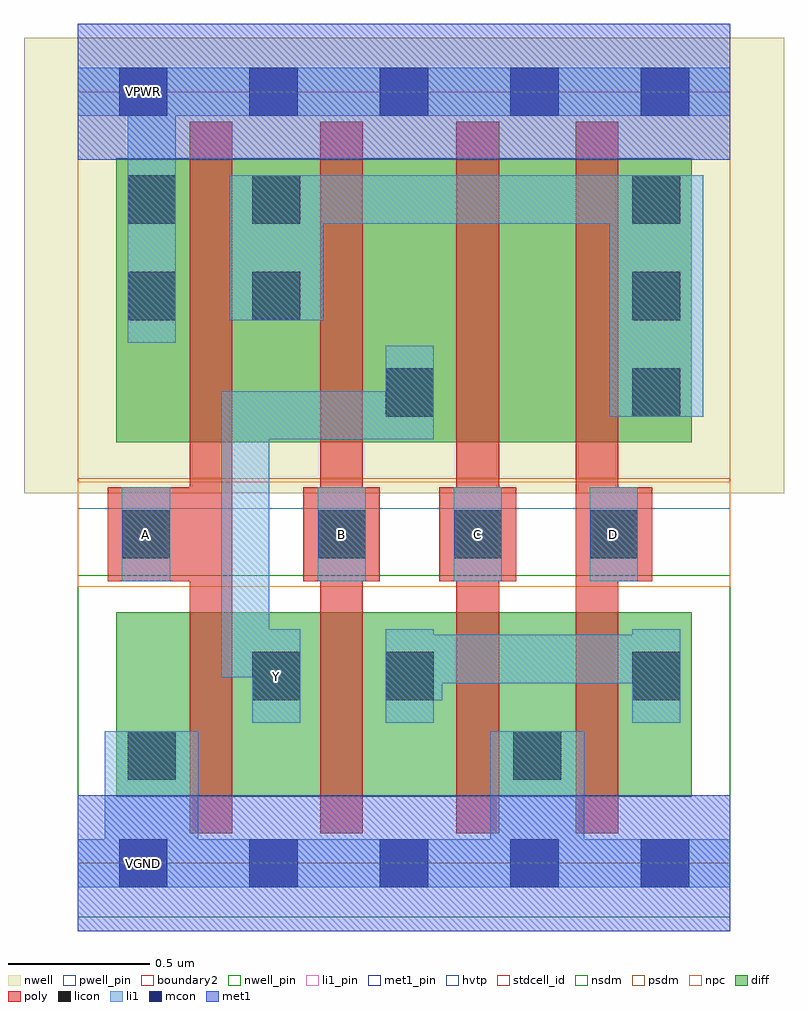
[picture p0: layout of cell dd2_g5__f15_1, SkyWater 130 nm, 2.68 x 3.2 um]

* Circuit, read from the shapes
.subckt dd2_g5__f15_1 A B C D VGND VNB VPB VPWR Y
XM1 Y A VGND VNB sky130_fd_pr__nfet_01v8 w=0.65 l=0.15
XM2 n1 B Y VNB sky130_fd_pr__nfet_01v8 w=0.65 l=0.15
XM3 VGND C n1 VNB sky130_fd_pr__nfet_01v8 w=0.65 l=0.15
XM4 n1 D VGND VNB sky130_fd_pr__nfet_01v8 w=0.65 l=0.15
XM5 n2 A VPWR VPB sky130_fd_pr__pfet_01v8_hvt w=1 l=0.15
XM6 Y B n2 VPB sky130_fd_pr__pfet_01v8_hvt w=1 l=0.15
XM7 n3 C Y VPB sky130_fd_pr__pfet_01v8_hvt w=1 l=0.15
XM8 n2 D n3 VPB sky130_fd_pr__pfet_01v8_hvt w=1 l=0.15
.ends

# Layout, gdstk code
import gdstk
lib = gdstk.Library(unit=1e-6, precision=1e-09)
def R(c, l, rs):  # rectangles x0, y0, x1, y1
    for r in rs: c.add(gdstk.rectangle(r[:2], r[2:], *l))
def A(c, l, x, y, w, h, nx, ny, dx, dy):  # array of equal rectangles
    R(c, l, [(x+i*dx, y+j*dy, x+i*dx+w, y+j*dy+h) for i in range(nx) for j in range(ny)])
nwell_pin = (64, 16)
nwell = (64, 20)
diff = (65, 20)
poly = (66, 20)
licon = (66, 44)
li1_pin = (67, 16)
li1 = (67, 20)
mcon = (67, 44)
met1_pin = (68, 16)
met1 = (68, 20)
hvtp = (78, 44)
stdcell_id = (81, 4)
nsdm = (93, 44)
psdm = (94, 20)
npc = (95, 20)
pwell_pin = (122, 16)
boundary2 = (236, 0)

dd2_g5__f15_1 = lib.new_cell('dd2_g5__f15_1')
R(dd2_g5__f15_1, nwell_pin, [(0.145,2.635,0.315,2.805)])
R(dd2_g5__f15_1, nwell, [(-0.19,1.305,2.49,2.91)])
R(dd2_g5__f15_1, diff, [(0.135,0.235,0.93,0.885), (0.47,0.235,1.41,0.885), (0.93,0.235,1.83,0.885), (1.41,0.235,2.165,0.885), (0.135,1.485,0.93,2.485), (0.47,1.485,1.41,2.485), (0.93,1.485,1.83,2.485), (1.41,1.485,2.165,2.485)])
A(dd2_g5__f15_1, poly, 0.795, 0.995, 0.27, 0.33, 3, 1, 0.48, 0)
R(dd2_g5__f15_1, poly, [(0.395,0.105,0.545,2.615), (0.855,0.105,1.005,2.615), (1.335,0.105,1.485,2.615), (1.755,0.105,1.905,2.615), (0.105,0.995,0.545,1.325)])
A(dd2_g5__f15_1, licon, 0.845, 1.075, 0.17, 0.17, 3, 1, 0.48, 0)
A(dd2_g5__f15_1, licon, 1.955, 1.575, 0.17, 0.17, 1, 3, 0, 0.34)
R(dd2_g5__f15_1, licon, [(0.175,0.295,0.345,0.465), (1.535,0.295,1.705,0.465), (0.615,0.575,0.785,0.745), (1.085,0.575,1.255,0.745), (1.955,0.575,2.125,0.745), (0.155,1.075,0.325,1.245), (1.085,1.575,1.255,1.745), (0.175,1.915,0.345,2.085), (0.615,1.915,0.785,2.085), (0.175,2.255,0.345,2.425), (0.615,2.255,0.785,2.425)])
A(dd2_g5__f15_1, li1_pin, 0.855, 1.085, 0.15, 0.15, 3, 1, 0.48, 0)
R(dd2_g5__f15_1, li1_pin, [(0.145,-0.085,0.315,0.085), (0.625,0.585,0.775,0.735), (0.165,1.085,0.315,1.235), (0.145,2.635,0.315,2.805)])
A(dd2_g5__f15_1, li1, 0.845, 0.995, 0.17, 0.33, 3, 1, 0.48, 0)
R(dd2_g5__f15_1, li1, [(0,-0.085,2.3,0.085), (0.095,0.085,0.425,0.465), (1.455,0.085,1.785,0.465), (0.615,0.495,0.785,0.655), (1.085,0.495,1.255,0.575), (1.955,0.495,2.125,0.635), (1.085,0.575,1.285,0.635), (1.085,0.635,2.125,0.805), (0.505,0.655,0.785,0.825), (1.085,0.805,1.255,0.825), (1.955,0.805,2.125,0.825), (0.505,0.825,0.675,1.495), (0.155,0.995,0.325,1.325), (0.505,1.495,1.255,1.665), (1.875,1.575,2.205,2.255), (1.085,1.665,1.255,1.825), (0.175,1.835,0.345,2.635), (0.535,1.915,0.865,2.255), (0.535,2.255,2.205,2.425), (0,2.635,2.3,2.805)])
A(dd2_g5__f15_1, mcon, 0.145, -0.085, 0.17, 0.17, 5, 2, 0.46, 2.72)
R(dd2_g5__f15_1, met1_pin, [(0.145,-0.085,0.315,0.085), (0.145,2.635,0.315,2.805)])
R(dd2_g5__f15_1, met1, [(0,-0.24,2.3,0.24), (0,2.48,2.3,2.96)])
R(dd2_g5__f15_1, hvtp, [(0,1.25,2.3,2.72)])
R(dd2_g5__f15_1, stdcell_id, [(0,0,2.3,2.72)])
R(dd2_g5__f15_1, nsdm, [(0,-0.19,2.3,1.015)])
R(dd2_g5__f15_1, psdm, [(0,1.355,2.3,2.91)])
R(dd2_g5__f15_1, npc, [(0,0.975,2.3,1.345)])
R(dd2_g5__f15_1, pwell_pin, [(0.145,-0.085,0.315,0.085)])
R(dd2_g5__f15_1, boundary2, [(0,0,2.3,2.72)])
dd2_g5__f15_1.add(gdstk.Label('VPWR', (0.23,2.72), layer=68, texttype=5))
dd2_g5__f15_1.add(gdstk.Label('VGND', (0.23,0), layer=68, texttype=5))
dd2_g5__f15_1.add(gdstk.Label('VPWR', (0.23,2.72), layer=67, texttype=5))
dd2_g5__f15_1.add(gdstk.Label('VGND', (0.23,0), layer=67, texttype=5))
dd2_g5__f15_1.add(gdstk.Label('A', (0.24,1.16), layer=67, texttype=5))
dd2_g5__f15_1.add(gdstk.Label('B', (0.93,1.16), layer=67, texttype=5))
dd2_g5__f15_1.add(gdstk.Label('C', (1.41,1.16), layer=67, texttype=5))
dd2_g5__f15_1.add(gdstk.Label('D', (1.89,1.16), layer=67, texttype=5))
dd2_g5__f15_1.add(gdstk.Label('Y', (0.7,0.66), layer=67, texttype=5))
dd2_g5__f15_1.add(gdstk.Label('VPB', (0.23,2.72), layer=64, texttype=5))
dd2_g5__f15_1.add(gdstk.Label('VNB', (0.23,0), layer=64, texttype=59))

lib.write_gds('dd2_g5__f15_1.gds')
